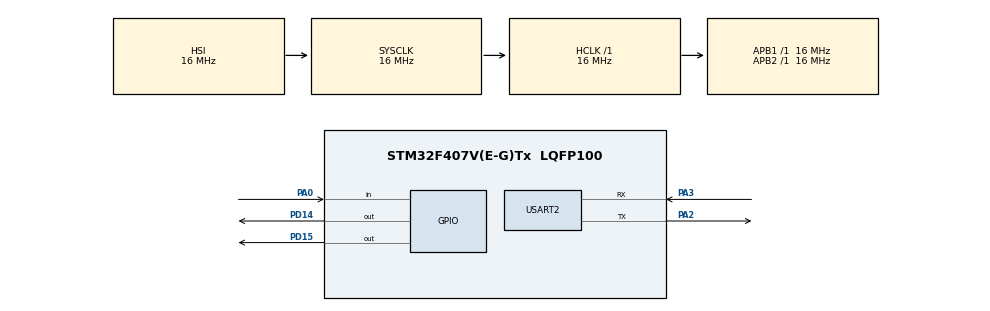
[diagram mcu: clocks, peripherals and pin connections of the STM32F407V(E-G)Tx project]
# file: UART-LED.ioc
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Mcu.Family=STM32F4
Mcu.Name=STM32F407V(E-G)Tx
Mcu.Package=LQFP100
NVIC.PriorityGroup=NVIC_PRIORITYGROUP_4
NVIC.TIM2_IRQn=true\:0\:0\:false\:false\:true\:true\:true
NVIC.TIM3_IRQn=true\:0\:0\:false\:false\:true\:true\:true
NVIC.USART2_IRQn=true\:0\:0\:false\:false\:true\:true\:true
PA0-WKUP.GPIO_PuPd=GPIO_PULLDOWN
PA0-WKUP.Signal=GPIO_Input
PA2.Mode=Asynchronous
PA2.Signal=USART2_TX
PA3.Mode=Asynchronous
PA3.Signal=USART2_RX
PD14.Signal=GPIO_Output
PD15.Signal=GPIO_Output
ProjectManager.HeapSize=0x200
ProjectManager.StackSize=0x400
ProjectManager.TargetToolchain=MDK-ARM V5
RCC.AHBFreq_Value=16000000
RCC.APB1Freq_Value=16000000
RCC.APB2Freq_Value=16000000
RCC.CortexFreq_Value=16000000
RCC.HSE_VALUE=25000000
RCC.HSI_VALUE=16000000
RCC.LSE_VALUE=32768
RCC.SYSCLKFreq_VALUE=16000000
RCC.VCOOutputFreq_Value=192000000
TIM2.AutoReloadPreload=TIM_AUTORELOAD_PRELOAD_ENABLE
TIM2.Period=64000
TIM2.Prescaler=750
TIM3.AutoReloadPreload=TIM_AUTORELOAD_PRELOAD_ENABLE
TIM3.Period=64000
TIM3.Prescaler=249
USART2.VirtualMode=VM_ASYNC
VP_TIM2_VS_ClockSourceINT.Mode=Internal
VP_TIM3_VS_ClockSourceINT.Mode=Internal
board=custom

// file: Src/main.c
/* USER CODE BEGIN Header */
/**
  ******************************************************************************
  * @file           : main.c
  * @brief          : Main program body
  ******************************************************************************
  * @attention
  *
  * <h2><center>&copy; Copyright (c) 2019 STMicroelectronics.
  * All rights reserved.</center></h2>
  *
  * This software component is licensed by ST under BSD 3-Clause license,
  * the "License"; You may not use this file except in compliance with the
  * License. You may obtain a copy of the License at:
  *                        opensource.org/licenses/BSD-3-Clause
  *
  ******************************************************************************
  */
/* USER CODE END Header */

#include "main.h"

/* USER CODE BEGIN Includes */
#include <stdio.h>
#include <string.h>
/* USER CODE END Includes */

/* USER CODE BEGIN PTD */
typedef enum {PARSE_STATUS_OK, PARSE_STATUS_ERR}Parse_STATUS;

typedef struct{
	GPIO_PinState led14;
	GPIO_PinState led15;
}Etat_leds;

/* USER CODE END PTD */

TIM_HandleTypeDef htim2;
TIM_HandleTypeDef htim3;

UART_HandleTypeDef huart2;

/* USER CODE BEGIN PV */
static Etat_leds etat_leds;
static uint8_t rxBuff[2];
/* USER CODE END PV */

void SystemClock_Config(void);
static void MX_GPIO_Init(void);
static void MX_TIM2_Init(void);
static void MX_USART2_UART_Init(void);
static void MX_TIM3_Init(void);
/* USER CODE BEGIN PFP */
Parse_STATUS parseUARTrx(uint8_t rx[8]);
void emitBip(void);
void afficherEtatLEDs(void);
/* USER CODE END PFP */

int main(void)
{
  /* USER CODE BEGIN 1 */
	etat_leds.led14 = GPIO_PIN_RESET;
	etat_leds.led15 = GPIO_PIN_RESET;

	memset(rxBuff, 0xCC, 2);
  /* USER CODE END 1 */

  /* MCU Configuration--------------------------------------------------------*/

  /* Reset of all peripherals, Initializes the Flash interface and the Systick. */
  HAL_Init();

  /* Configure the system clock */
  SystemClock_Config();

  /* USER CODE BEGIN SysInit */
  __HAL_RCC_TIM2_CLK_ENABLE();
	__HAL_RCC_TIM3_CLK_ENABLE();
  /* USER CODE END SysInit */

  /* Initialize all configured peripherals */
  MX_GPIO_Init();
  MX_TIM2_Init();
  MX_USART2_UART_Init();
  MX_TIM3_Init();
  /* USER CODE BEGIN 2 */

	HAL_TIM_Base_Start_IT(&htim2);
	HAL_UART_Receive_IT(&huart2,rxBuff,1);

  /* USER CODE END 2 */

  /* Infinite loop */
  /* USER CODE BEGIN WHILE */
  while (1)
  {
		/* Gestion du bouton qui toggle les deux leds*/
		if(HAL_GPIO_ReadPin(GPIOA, GPIO_PIN_0) == GPIO_PIN_SET){
			HAL_GPIO_TogglePin(GPIOD, GPIO_PIN_14);
			HAL_GPIO_TogglePin(GPIOD, GPIO_PIN_15);

			/* Mise à jour des variables qui tracks l'état des LEDs*/
			etat_leds.led14 = (GPIO_PinState) !etat_leds.led14;
			etat_leds.led15 = (GPIO_PinState) !etat_leds.led15;

			/*anti-ebonds du bouton*/
			do{
				HAL_Delay(200);
			}while(HAL_GPIO_ReadPin(GPIOA, GPIO_PIN_0) == GPIO_PIN_SET);
		}
		HAL_Delay(100);
    /* USER CODE END WHILE */

  }
}

void SystemClock_Config(void)
{
  RCC_OscInitTypeDef RCC_OscInitStruct = {0};
  RCC_ClkInitTypeDef RCC_ClkInitStruct = {0};

  /** Configure the main internal regulator output voltage
  */
  __HAL_RCC_PWR_CLK_ENABLE();
  __HAL_PWR_VOLTAGESCALING_CONFIG(PWR_REGULATOR_VOLTAGE_SCALE1);
  /** Initializes the CPU, AHB and APB busses clocks
  */
  RCC_OscInitStruct.OscillatorType = RCC_OSCILLATORTYPE_HSI;
  RCC_OscInitStruct.HSIState = RCC_HSI_ON;
  RCC_OscInitStruct.HSICalibrationValue = RCC_HSICALIBRATION_DEFAULT;
  RCC_OscInitStruct.PLL.PLLState = RCC_PLL_NONE;
  if (HAL_RCC_OscConfig(&RCC_OscInitStruct) != HAL_OK)
  {
    Error_Handler();
  }
  /** Initializes the CPU, AHB and APB busses clocks
  */
  RCC_ClkInitStruct.ClockType = RCC_CLOCKTYPE_HCLK|RCC_CLOCKTYPE_SYSCLK
                              |RCC_CLOCKTYPE_PCLK1|RCC_CLOCKTYPE_PCLK2;
  RCC_ClkInitStruct.SYSCLKSource = RCC_SYSCLKSOURCE_HSI;
  RCC_ClkInitStruct.AHBCLKDivider = RCC_SYSCLK_DIV1;
  RCC_ClkInitStruct.APB1CLKDivider = RCC_HCLK_DIV1;
  RCC_ClkInitStruct.APB2CLKDivider = RCC_HCLK_DIV1;

  if (HAL_RCC_ClockConfig(&RCC_ClkInitStruct, FLASH_LATENCY_0) != HAL_OK)
  {
    Error_Handler();
  }
}

static void MX_TIM2_Init(void)
{

  TIM_ClockConfigTypeDef sClockSourceConfig = {0};
  TIM_MasterConfigTypeDef sMasterConfig = {0};

  htim2.Instance = TIM2;
  htim2.Init.Prescaler = 750;
  htim2.Init.CounterMode = TIM_COUNTERMODE_UP;
  htim2.Init.Period = 64000;
  htim2.Init.ClockDivision = TIM_CLOCKDIVISION_DIV1;
  htim2.Init.AutoReloadPreload = TIM_AUTORELOAD_PRELOAD_ENABLE;
  if (HAL_TIM_Base_Init(&htim2) != HAL_OK)
  {
    Error_Handler();
  }
  sClockSourceConfig.ClockSource = TIM_CLOCKSOURCE_INTERNAL;
  if (HAL_TIM_ConfigClockSource(&htim2, &sClockSourceConfig) != HAL_OK)
  {
    Error_Handler();
  }
  sMasterConfig.MasterOutputTrigger = TIM_TRGO_RESET;
  sMasterConfig.MasterSlaveMode = TIM_MASTERSLAVEMODE_DISABLE;
  if (HAL_TIMEx_MasterConfigSynchronization(&htim2, &sMasterConfig) != HAL_OK)
  {
    Error_Handler();
  }

}

static void MX_TIM3_Init(void)
{

  TIM_ClockConfigTypeDef sClockSourceConfig = {0};
  TIM_MasterConfigTypeDef sMasterConfig = {0};

  htim3.Instance = TIM3;
  htim3.Init.Prescaler = 249;
  htim3.Init.CounterMode = TIM_COUNTERMODE_UP;
  htim3.Init.Period = 64000;
  htim3.Init.ClockDivision = TIM_CLOCKDIVISION_DIV1;
  htim3.Init.AutoReloadPreload = TIM_AUTORELOAD_PRELOAD_ENABLE;
  if (HAL_TIM_Base_Init(&htim3) != HAL_OK)
  {
    Error_Handler();
  }
  sClockSourceConfig.ClockSource = TIM_CLOCKSOURCE_INTERNAL;
  if (HAL_TIM_ConfigClockSource(&htim3, &sClockSourceConfig) != HAL_OK)
  {
    Error_Handler();
  }
  sMasterConfig.MasterOutputTrigger = TIM_TRGO_RESET;
  sMasterConfig.MasterSlaveMode = TIM_MASTERSLAVEMODE_DISABLE;
  if (HAL_TIMEx_MasterConfigSynchronization(&htim3, &sMasterConfig) != HAL_OK)
  {
    Error_Handler();
  }

}

static void MX_USART2_UART_Init(void)
{

  huart2.Instance = USART2;
  huart2.Init.BaudRate = 115200;
  huart2.Init.WordLength = UART_WORDLENGTH_8B;
  huart2.Init.StopBits = UART_STOPBITS_1;
  huart2.Init.Parity = UART_PARITY_NONE;
  huart2.Init.Mode = UART_MODE_TX_RX;
  huart2.Init.HwFlowCtl = UART_HWCONTROL_NONE;
  huart2.Init.OverSampling = UART_OVERSAMPLING_16;
  if (HAL_UART_Init(&huart2) != HAL_OK)
  {
    Error_Handler();
  }

}

static void MX_GPIO_Init(void)
{
  GPIO_InitTypeDef GPIO_InitStruct = {0};

  /* GPIO Ports Clock Enable */
  __HAL_RCC_GPIOA_CLK_ENABLE();
  __HAL_RCC_GPIOD_CLK_ENABLE();

  /*Configure GPIO pin Output Level */
  HAL_GPIO_WritePin(GPIOD, GPIO_PIN_14|GPIO_PIN_15, GPIO_PIN_RESET);

  /*Configure GPIO pin : PA0 */
  GPIO_InitStruct.Pin = GPIO_PIN_0;
  GPIO_InitStruct.Mode = GPIO_MODE_INPUT;
  GPIO_InitStruct.Pull = GPIO_PULLDOWN;
  HAL_GPIO_Init(GPIOA, &GPIO_InitStruct);

  /*Configure GPIO pins : PD14 PD15 */
  GPIO_InitStruct.Pin = GPIO_PIN_14|GPIO_PIN_15;
  GPIO_InitStruct.Mode = GPIO_MODE_OUTPUT_PP;
  GPIO_InitStruct.Pull = GPIO_NOPULL;
  GPIO_InitStruct.Speed = GPIO_SPEED_FREQ_LOW;
  HAL_GPIO_Init(GPIOD, &GPIO_InitStruct);

}

/* USER CODE BEGIN 4 */
void HAL_TIM_PeriodElapsedCallback(TIM_HandleTypeDef *htim)
{
	/* Le timer n°2 (3 secondes) permet de déclencher le timer 3 */
	if(htim == &htim2){
		afficherEtatLEDs();
		HAL_TIM_Base_Start_IT(&htim3);

		// A noter que le Timer 2 ne se relance pas lui même
	}
	/* Le timer n°3 (1 seconde) permet de déclencher l'affichage */
	else if( htim == &htim3){
			afficherEtatLEDs();
			HAL_TIM_Base_Start_IT(&htim3);
	}
}

void HAL_UART_RxCpltCallback(UART_HandleTypeDef *huart){
	/* Prevent unused argument(s) compilation warning */
  UNUSED(huart);

	/* Cette fonction permet de recevoir les charactères reçus sur la liaison
	 * série 1 par 1.
	 * Les charatètres sont stockés dans la variable stacking.
	*/

	uint8_t reset_index = 0;
	static uint8_t stacking[10];
	static char index = 0;
	uint32_t* tim2_cnt = (uint32_t*) 0x40000024;

	stacking[index] = rxBuff[0];
	memset(rxBuff, 0xCC, 8);

	/* Ce if détecte la fin de la commande */
	if(stacking[index] == '\n' || index >= 9){
		Parse_STATUS parse_status = parseUARTrx(stacking);
		if(parse_status == PARSE_STATUS_ERR){
			emitBip();
		}

		/* Reset du compteur du timer 2 */
		*tim2_cnt = 0x00;

		// Comme une commande a été détéctée, on arrête d'affiche l'état des LEDs
		HAL_TIM_Base_Stop_IT(&htim3);

		// On redémare alors le timer 2 au cas ou il a été stoppé
		HAL_TIM_Base_Start_IT(&htim2);

		reset_index = 1;
		memset(stacking, 0xDD, 10);
	}
	if(!reset_index)
		index ++;
	else
		index = 0;

	HAL_UART_Receive_IT(&huart2,rxBuff,1);
}

/**
  * @brief Cette fontion permet d'analyser le commande et
	*				d'effectuer les actions sur les LEDs
	* @param rx : la commande à analyser
	* @retval Parse_STATUS :
	*								PARSE_STATUS_ERR : Si la commande reçu n'était pas valide
	*								PARSE_STATUS_OK : Si la commande reçu était valide
  */
Parse_STATUS parseUARTrx(uint8_t rx[10]){
	uint16_t led;
	GPIO_PinState etat;

	/* if sur les parties constantes des commande valides */
	if(rx[0] == 'L' && rx[1] == 'E' && rx[2] == 'D' && rx[3] == ' ' &&
		 rx[5] == ' ' && rx[6] == 'O')
	{
		/* vérification sur les parie variable (LED et état) */
		switch(rx[4]){
			case '1':
				led = GPIO_PIN_14;
				break;
			case '2':
				led = GPIO_PIN_15;
				break;
			default:
				return PARSE_STATUS_ERR;
		}
		switch(rx[7]){
			case 'N':
				etat = GPIO_PIN_SET;
				break;
			case 'F':
				etat = GPIO_PIN_RESET;
				break;
			default :
				return PARSE_STATUS_ERR;
		}

		HAL_GPIO_WritePin(GPIOD, led, etat);
		/* Mise à jour de la structure de tracking de l'état des LEDs */
		if(led == GPIO_PIN_14)
			etat_leds.led14 = etat;
		else
			etat_leds.led15 = etat;
		return PARSE_STATUS_OK;
	}
	else
		return PARSE_STATUS_ERR;
}

/**
  * @brief Fonction pour emettre un son sur les écouteurs
  * @param None
  * @retval None
  */
void emitBip(){
	HAL_UART_Transmit(&huart2, (uint8_t*) "BIP\r\n", 6, 10);
}

/**
  * @brief Fonciton qui affiche l'état des LEDs sur la liaison série
  * @param None
  * @retval None
  */
void afficherEtatLEDs(){
	HAL_UART_Transmit(&huart2, (uint8_t*) "Etat LEDs : \n", 14, 10);
	HAL_UART_Transmit(&huart2, (uint8_t*) "LED 1 > O", 10, 10);
	if(etat_leds.led14 == GPIO_PIN_SET)
		HAL_UART_Transmit(&huart2, (uint8_t*) "N\n\r", 4, 10);
	else
		HAL_UART_Transmit(&huart2, (uint8_t*) "FF\n\r", 5, 10);

	HAL_UART_Transmit(&huart2, (uint8_t*) "LED 2 > O", 10, 10);
	if(etat_leds.led15 == GPIO_PIN_SET)
		HAL_UART_Transmit(&huart2, (uint8_t*) "N\n\r", 4, 10);
	else
		HAL_UART_Transmit(&huart2, (uint8_t*) "FF\n\r", 5, 10);
	HAL_UART_Transmit(&huart2, (uint8_t*) "------------\n", 14, 10);

}

/* USER CODE END 4 */

void Error_Handler(void)
{
  /* USER CODE BEGIN Error_Handler_Debug */
  /* User can add his own implementation to report the HAL error return state */
	while(1){
		HAL_GPIO_TogglePin(GPIOD, GPIO_PIN_14);
		HAL_Delay(400);
	}
  /* USER CODE END Error_Handler_Debug */
}

/************************ (C) COPYRIGHT STMicroelectronics *****END OF FILE****/
